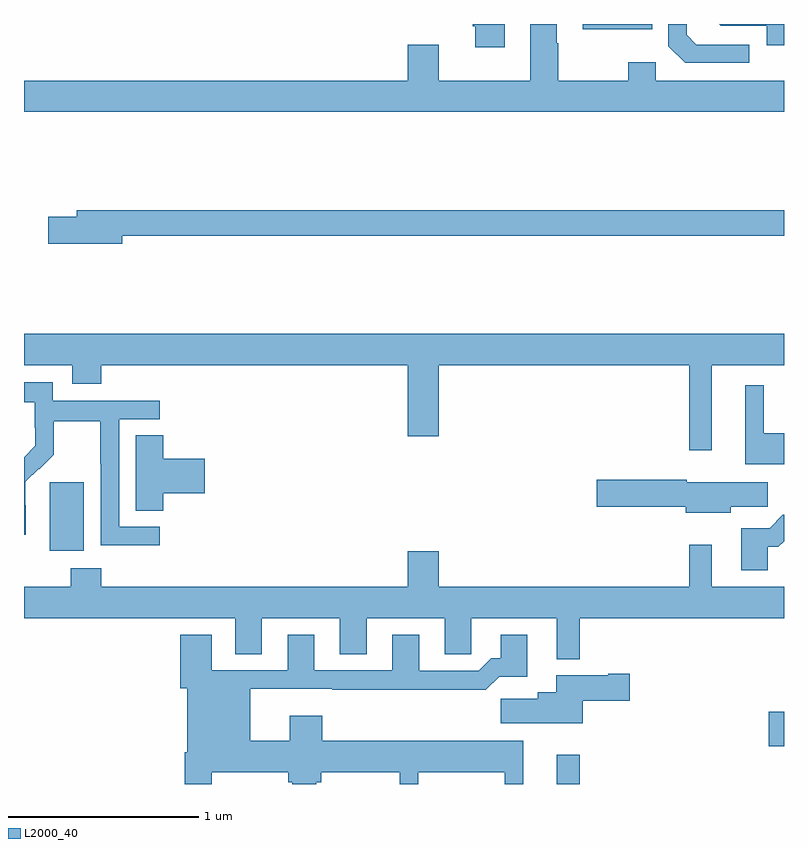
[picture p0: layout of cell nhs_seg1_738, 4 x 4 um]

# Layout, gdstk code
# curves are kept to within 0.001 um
import gdstk
lib = gdstk.Library(unit=1e-6, precision=1e-09)
def R(c, l, rs):  # rectangles x0, y0, x1, y1
    for r in rs: c.add(gdstk.rectangle(r[:2], r[2:], *l))
def P(c, l, *ps):  # polygons
    for p in ps: c.add(gdstk.Polygon(p, *l))
L2000_40 = (2000, 40)

nhs_seg1_738 = lib.new_cell('nhs_seg1_738')
R(nhs_seg1_738, L2000_40, [(153.803,544.199,153.925,544.354), (154.92,544.397,155,544.58), (151.136,545.426,151.315,545.787), (153.941,548.171,154.307,548.199)])
P(nhs_seg1_738, L2000_40, [(155,547.9),(154.326,547.9),(154.326,547.999),(154.18,547.999),(154.18,547.9),(153.813,547.9),(153.813,548.099),(153.805,548.099),(153.805,548.199),(153.665,548.199),(153.665,547.9),(153.184,547.9),(153.184,548.089),(153.02,548.089),(153.02,547.9),(151,547.9),(151,547.736),(155,547.736)],
  [(154.816,548.091),(154.539,548.091),(154.488,548.142),(154.488,548.199),(154.392,548.199),(154.392,548.082),(154.479,547.995),(154.816,547.995)],
  [(153.529,548.199),(153.362,548.199),(153.362,548.188),(153.374,548.188),(153.374,548.076),(153.529,548.076)],
  [(155,548.199),(154.659,548.199),(154.668,548.19),(154.908,548.19),(154.908,548.088),(155,548.088)],
  [(151.516,547.084),(155,547.084),(155,547.22),(151.277,547.22),(151.277,547.184),(151.128,547.184),(151.128,547.042),(151.516,547.042)],
  [(154.621,546.404),(155,546.404),(155,546.568),(151,546.568),(151,546.404),(151.253,546.404),(151.253,546.305),(151.406,546.305),(151.406,546.404),(153.02,546.404),(153.02,546.03),(153.184,546.03),(153.184,546.404),(154.5,546.404),(154.5,545.955),(154.621,545.955)],
  [(151.714,545.553),(151.5,545.553),(151.5,546.12),(151.714,546.12),(151.714,546.216),(151.152,546.216),(151.152,546.313),(151,546.313),(151,546.209),(151.056,546.209),(151.056,546.075),(151.058,546.075),(151.058,545.978),(151,545.92),(151,545.512),(151.008,545.512),(151.007,545.789),(151.077,545.859),(151.08,545.856),(151.157,545.933),(151.157,546.108),(151.402,546.108),(151.402,545.884),(151.404,545.884),(151.404,545.455),(151.714,545.455)],
  [(155,546.046),(154.894,546.046),(154.894,546.298),(154.796,546.298),(154.796,545.882),(155,545.882)],
  [(151.733,545.729),(151.951,545.729),(151.951,545.912),(151.733,545.912),(151.733,546.035),(151.589,546.035),(151.589,545.638),(151.733,545.638)],
  [(154.72,545.659),(154.915,545.659),(154.915,545.788),(154.488,545.788),(154.488,545.801),(154.014,545.801),(154.014,545.659),(154.484,545.659),(154.484,545.627),(154.72,545.627)],
  [(154.915,545.447),(154.97,545.447),(155,545.477),(155,545.615),(154.994,545.615),(154.924,545.545),(154.775,545.545),(154.775,545.325),(154.915,545.325)],
  [(153.925,545.072),(155,545.072),(155,545.236),(154.621,545.236),(154.621,545.458),(154.5,545.458),(154.5,545.236),(153.184,545.236),(153.184,545.425),(153.02,545.425),(153.02,545.236),(151.406,545.236),(151.406,545.335),(151.246,545.335),(151.246,545.236),(151,545.236),(151,545.072),(152.111,545.072),(152.111,544.882),(152.251,544.882),(152.251,545.072),(152.663,545.072),(152.663,544.882),(152.803,544.882),(152.803,545.072),(153.215,545.072),(153.215,544.882),(153.354,544.882),(153.354,545.072),(153.803,545.072),(153.803,544.856),(153.925,544.856)],
  [(151.987,544.262),(152.392,544.262),(152.392,544.209),(152.411,544.209),(152.411,544.199),(152.539,544.199),(152.539,544.209),(152.565,544.209),(152.565,544.262),(152.978,544.262),(152.978,544.199),(153.076,544.199),(153.076,544.262),(153.53,544.262),(153.53,544.199),(153.628,544.199),(153.628,544.426),(152.57,544.426),(152.57,544.558),(152.399,544.558),(152.399,544.426),(152.191,544.426),(152.191,544.7),(152.623,544.7),(152.623,544.696),(153.175,544.696),(153.175,544.694),(153.431,544.694),(153.5,544.763),(153.649,544.763),(153.649,544.984),(153.509,544.984),(153.509,544.861),(153.46,544.861),(153.393,544.794),(153.079,544.794),(153.079,544.984),(152.939,544.984),(152.939,544.797),(152.527,544.797),(152.527,544.984),(152.387,544.984),(152.387,544.797),(151.987,544.797),(151.987,544.984),(151.823,544.984),(151.823,544.704),(151.859,544.704),(151.859,544.366),(151.847,544.366),(151.847,544.199),(151.987,544.199)],
  [(153.94,544.637),(154.189,544.637),(154.189,544.779),(154.076,544.779),(154.076,544.771),(153.8,544.771),(153.8,544.681),(153.704,544.681),(153.704,544.649),(153.51,544.649),(153.51,544.52),(153.94,544.52)])

lib.write_gds('nhs_seg1_738.gds')
